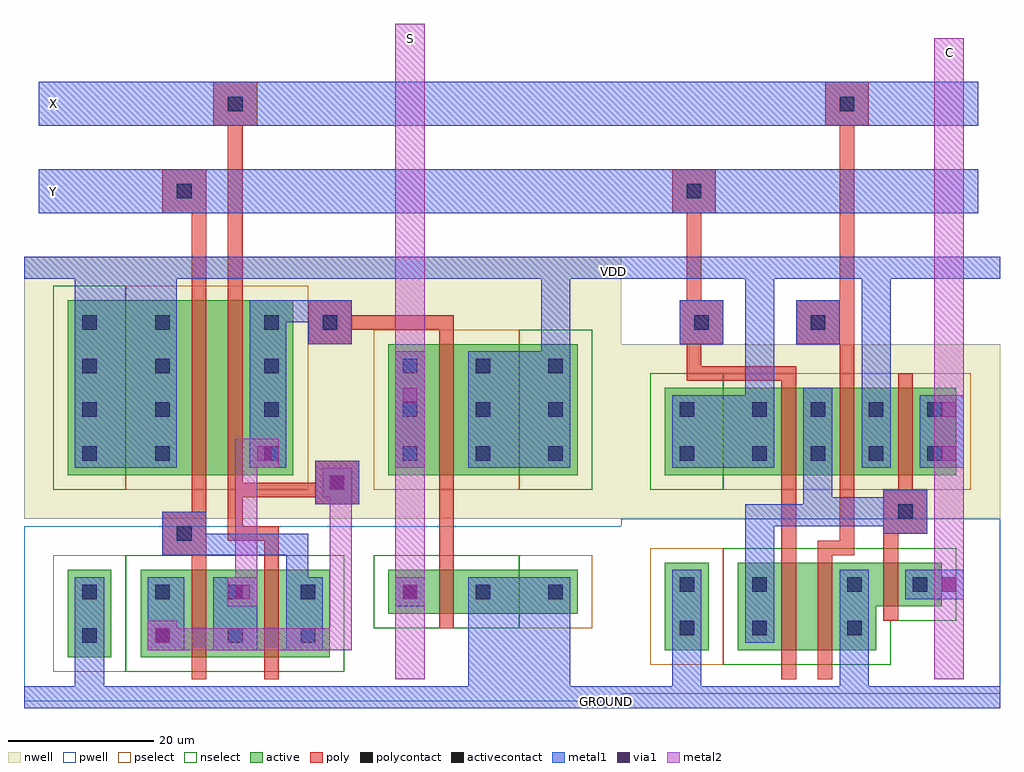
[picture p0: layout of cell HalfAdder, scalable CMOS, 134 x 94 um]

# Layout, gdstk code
import gdstk
lib = gdstk.Library(unit=1e-6, precision=1e-09)
def R(c, l, rs):  # rectangles x0, y0, x1, y1
    for r in rs: c.add(gdstk.rectangle(r[:2], r[2:], *l))
def A(c, l, x, y, w, h, nx, ny, dx, dy):  # array of equal rectangles
    R(c, l, [(x+i*dx, y+j*dy, x+i*dx+w, y+j*dy+h) for i in range(nx) for j in range(ny)])
def P(c, l, *ps):  # polygons
    for p in ps: c.add(gdstk.Polygon(p, *l))
pwell = (41, 0)
nwell = (42, 0)
active = (43, 0)
pselect = (44, 0)
nselect = (45, 0)
poly = (46, 0)
polycontact = (47, 0)
activecontact = (48, 0)
metal1 = (49, 0)
via1 = (50, 0)
metal2 = (51, 0)

c_153_xor = lib.new_cell('153_XOR')
R(c_153_xor, pwell, [(-36,-45,46,-21)])
R(c_153_xor, nwell, [(-36,-20,46,16)])
R(c_153_xor, active, [(-30,-39,-24,-27), (-20,-39,6,-27), (14,-33,40,-27), (-30,-14,1,10), (14,-14,40,4)])
R(c_153_xor, pselect, [(-32,-41,-22,-25), (32,-35,42,-25), (-22,-16,3,12), (12,-16,32,6)])
R(c_153_xor, nselect, [(-22,-41,8,-25), (12,-35,32,-25), (-32,-16,-22,12), (32,-16,42,6)])
P(c_153_xor, poly, [(-8,-23),(-3,-23),(-3,-42),(-1,-42),(-1,-21),(-6,-21),(-6,-17),(4,-17),(4,-18),(10,-18),(10,-12),(4,-12),(4,-15),(-6,-15),(-6,12),(-8,12)],
  [(3,4),(9,4),(9,6),(21,6),(21,-35),(23,-35),(23,8),(9,8),(9,10),(3,10)],
  [(-17,-25),(-13,-25),(-13,-42),(-11,-42),(-11,12),(-13,12),(-13,-19),(-17,-19)])
R(c_153_xor, polycontact, [(-15,-23,-13,-21), (6,-16,8,-14), (5,6,7,8)])
A(c_153_xor, activecontact, -28, -37, 2, 2, 4, 2, 10, 6)
A(c_153_xor, activecontact, 16, -31, 2, 2, 3, 2, 10, 19)
A(c_153_xor, activecontact, -28, -12, 2, 2, 1, 4, 0, 6)
A(c_153_xor, activecontact, -18, -12, 2, 2, 1, 4, 0, 6)
A(c_153_xor, activecontact, -3, -12, 2, 2, 1, 4, 0, 6)
A(c_153_xor, activecontact, 16, -6, 2, 2, 3, 2, 10, 6)
R(c_153_xor, metal1, [(-19,-38,-14,-28), (-10,-38,-4,-28), (15,-32,19,-28), (4,-18,10,-12), (15,-13,19,3)])
P(c_153_xor, metal1, [(-36,13),(-29,13),(-29,-13),(-15,-13),(-15,13),(35,13),(35,3),(25,3),(25,-13),(39,-13),(39,13),(46,13),(46,16),(-36,16)],
  [(-17,-25),(0,-25),(0,-38),(5,-38),(5,-28),(3,-28),(3,-22),(-11,-22),(-11,-19),(-17,-19)],
  [(-36,-46),(46,-46),(46,-43),(39,-43),(39,-28),(25,-28),(25,-43),(-25,-43),(-25,-28),(-29,-28),(-29,-43),(-36,-43)],
  [(-5,-13),(0,-13),(0,7),(3,7),(3,4),(9,4),(9,10),(-5,10)])
R(c_153_xor, via1, [(-18,-37,-16,-35), (-7,-31,-5,-29), (16,-31,18,-29), (6,-16,8,-14), (-4,-12,-2,-10), (16,-4,18,-2)])
R(c_153_xor, metal2, [(15,-42,19,12)])
P(c_153_xor, metal2, [(-19,-38),(9,-38),(9,-13),(5,-13),(5,-17),(6,-17),(6,-35),(-15,-35),(-15,-34),(-19,-34)],
  [(-8,-32),(-4,-32),(-4,-13),(-1,-13),(-1,-9),(-7,-9),(-7,-28),(-8,-28)])
c_153_xor.add(gdstk.Label('B', (7,-23), layer=3, texttype=0))
c_153_xor.add(gdstk.Label('XOR', (17,-41), layer=3, texttype=0))
c_153_xor.add(gdstk.Label('XOR', (17,10), layer=42, texttype=0))
c_153_xor.add(gdstk.Label('VDD', (4,14), layer=2, texttype=0))
c_153_xor.add(gdstk.Label('GROUND', (3,-45), layer=2, texttype=0))
c_153_xor.add(gdstk.Label('A', (-10,-24), layer=2, texttype=0))
c_153_xor.add(gdstk.Label('A', (-13,-42), layer=49, texttype=0))
c_153_xor.add(gdstk.Label('B', (-3,-42), layer=49, texttype=0))
c_153_xor.add(gdstk.Label('A', (-13,11), layer=49, texttype=0))
c_153_xor.add(gdstk.Label('B', (-8,11), layer=49, texttype=0))

and_ = lib.new_cell('AND')
R(and_, pwell, [(-56,-17,-4,7)])
R(and_, nwell, [(-56,7,-4,31)])
R(and_, active, [(-50,-11,-44,1), (-50,13,-10,25)])
P(and_, active, [(-40,-11),(-21,-11),(-21,-5),(-12,-5),(-12,1),(-40,1)])
R(and_, pselect, [(-52,-13,-42,3), (-42,11,-8,27)])
R(and_, nselect, [(-52,11,-42,27)])
P(and_, nselect, [(-42,-13),(-19,-13),(-19,-7),(-10,-7),(-10,3),(-42,3)])
P(and_, poly, [(-20,-7),(-18,-7),(-18,5),(-14,5),(-14,11),(-16,11),(-16,27),(-18,27),(-18,11),(-20,11)],
  [(-48,31),(-47,31),(-47,26),(-34,26),(-34,-15),(-32,-15),(-32,28),(-45,28),(-45,31),(-42,31),(-42,37),(-45,37),(-45,39),(-47,39),(-47,37),(-48,37)],
  [(-32,31),(-26,31),(-26,4),(-29,4),(-29,-15),(-27,-15),(-27,2),(-24,2),(-24,39),(-26,39),(-26,37),(-32,37)])
R(and_, polycontact, [(-18,7,-16,9), (-46,33,-44,35), (-30,33,-28,35)])
A(and_, activecontact, -38, 15, 2, 2, 4, 2, 8, 6)
R(and_, activecontact, [(-48,-9,-46,-7), (-38,-9,-36,-7), (-25,-9,-23,-7), (-48,-3,-46,-1), (-38,-3,-36,-1), (-25,-3,-23,-1), (-16,-3,-14,-1), (-48,15,-46,17), (-48,21,-46,23)])
R(and_, metal1, [(-17,-4,-9,0), (-15,14,-9,24), (-48,31,-42,37), (-32,31,-26,37)])
P(and_, metal1, [(-56,40),(-39,40),(-39,24),(-49,24),(-49,14),(-35,14),(-35,40),(-23,40),(-23,14),(-19,14),(-19,40),(-4,40),(-4,43),(-56,43)],
  [(-56,-19),(-4,-19),(-4,-16),(-22,-16),(-22,0),(-26,0),(-26,-16),(-45,-16),(-45,0),(-49,0),(-49,-16),(-56,-16)],
  [(-39,-10),(-35,-10),(-35,6),(-20,6),(-20,5),(-14,5),(-14,11),(-20,11),(-20,10),(-27,10),(-27,25),(-31,25),(-31,9),(-39,9)])
R(and_, via1, [(-12,-3,-10,-1), (-12,15,-10,17), (-12,21,-10,23)])
R(and_, metal2, [(-13,-15,-9,39)])
and_.add(gdstk.Label('B', (-28,-13), layer=46, texttype=0))
and_.add(gdstk.Label('OUT', (-12,-13), layer=46, texttype=0))
and_.add(gdstk.Label('A', (-34,-13), layer=46, texttype=0))
and_.add(gdstk.Label('VDD', (-37,41), layer=2, texttype=0))
and_.add(gdstk.Label('A', (-43,35), layer=2, texttype=0))
and_.add(gdstk.Label('B', (-27,35), layer=2, texttype=0))
and_.add(gdstk.Label('GROUND', (-40,-19), layer=2, texttype=0))
and_.add(gdstk.Label('OUT', (-12,34), layer=3, texttype=0))

halfadder = lib.new_cell('HalfAdder')
R(halfadder, poly, [(-2,13,0,24), (-6,24,0,30)])
P(halfadder, poly, [(1,36),(3,36),(3,13),(5,13),(5,36),(7,36),(7,42),(1,42)],
  [(64,24),(66,24),(66,13),(68,13),(68,24),(70,24),(70,30),(64,30)],
  [(85,36),(87,36),(87,13),(89,13),(89,36),(91,36),(91,42),(85,42)])
R(halfadder, polycontact, [(-4,26,-2,28), (66,26,68,28), (3,38,5,40), (87,38,89,40)])
R(halfadder, metal1, [(53,-44,61,-41), (54,15,60,18), (-23,24,106,30), (-23,36,106,42)])
R(halfadder, metal2, [(100,10,104,48), (26,12,30,50)])
halfadder.add(gdstk.Reference(c_153_xor, (11,2)))
halfadder.add(gdstk.Reference(and_, (113,-25)))
halfadder.add(gdstk.Label('S', (28,48), layer=3, texttype=0))
halfadder.add(gdstk.Label('C', (102,46), layer=3, texttype=0))
halfadder.add(gdstk.Label('X', (-21,39), layer=2, texttype=0))
halfadder.add(gdstk.Label('GROUND', (55,-43), layer=2, texttype=0))
halfadder.add(gdstk.Label('VDD', (56,16), layer=2, texttype=0))
halfadder.add(gdstk.Label('Y', (-21,27), layer=2, texttype=0))

lib.write_gds('HalfAdder.gds')
